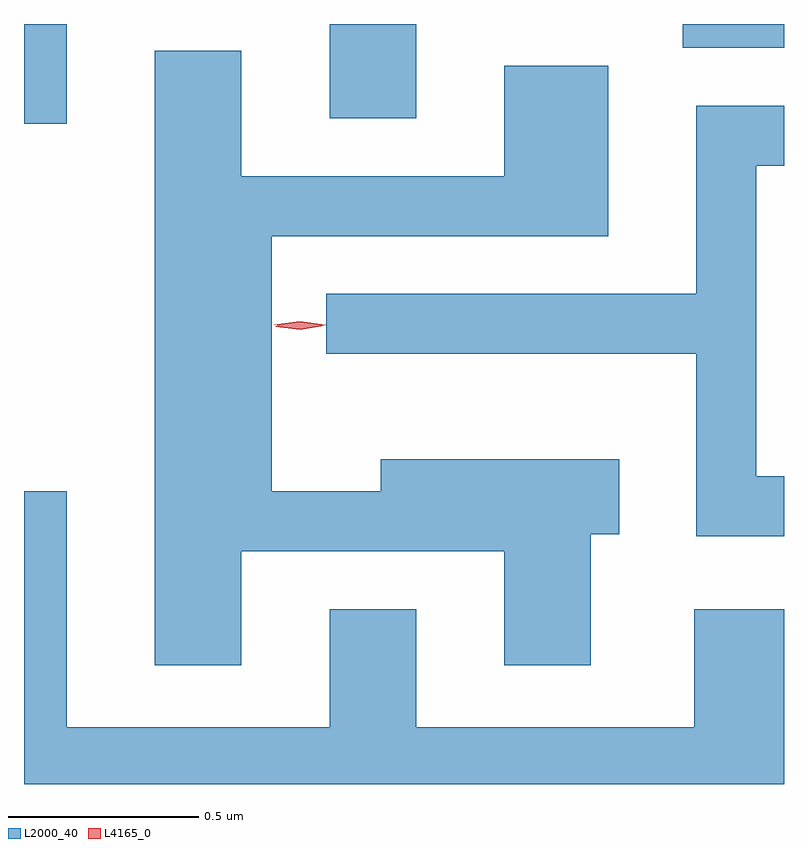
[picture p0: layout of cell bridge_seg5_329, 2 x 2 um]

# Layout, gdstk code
import gdstk
lib = gdstk.Library(unit=1e-6, precision=1e-09)
def R(c, l, rs):  # rectangles x0, y0, x1, y1
    for r in rs: c.add(gdstk.rectangle(r[:2], r[2:], *l))
def P(c, l, *ps):  # polygons
    for p in ps: c.add(gdstk.Polygon(p, *l))
L2000_40 = (2000, 40)
L4165_0 = (4165, 0)

bridge_seg5_329 = lib.new_cell('bridge_seg5_329')
R(bridge_seg5_329, L2000_40, [(718.267,1485.291,718.379,1485.554), (719.071,1485.306,719.299,1485.554), (720.001,1485.491,720.267,1485.554)])
P(bridge_seg5_329, L2000_40, [(718.839,1484.166),(719.531,1484.166),(719.531,1483.866),(719.759,1483.866),(719.759,1484.211),(719.834,1484.211),(719.834,1484.409),(719.206,1484.409),(719.206,1484.324),(718.919,1484.324),(718.919,1484.996),(719.804,1484.996),(719.804,1485.444),(719.531,1485.444),(719.531,1485.154),(718.839,1485.154),(718.839,1485.484),(718.611,1485.484),(718.611,1483.866),(718.839,1483.866)],
  [(720.267,1484.364),(720.194,1484.364),(720.194,1485.181),(720.267,1485.181),(720.267,1485.339),(720.036,1485.339),(720.036,1484.844),(719.063,1484.844),(719.063,1484.686),(720.036,1484.686),(720.036,1484.206),(720.267,1484.206)],
  [(720.267,1484.014),(720.031,1484.014),(720.031,1483.704),(719.299,1483.704),(719.299,1484.014),(719.071,1484.014),(719.071,1483.704),(718.379,1483.704),(718.379,1484.324),(718.267,1484.324),(718.267,1483.554),(720.267,1483.554)])
P(bridge_seg5_329, L4165_0, [(718.994,1484.749),(718.93,1484.757),(718.93,1484.758),(718.93,1484.758),(718.994,1484.769),(719.057,1484.76),(719.057,1484.76),(719.057,1484.76)],
  [(718.992,1484.752),(718.924,1484.762),(718.923,1484.762),(718.924,1484.763),(718.992,1484.772),(719.06,1484.763),(719.061,1484.762),(719.06,1484.762)])

lib.write_gds('bridge_seg5_329.gds')
